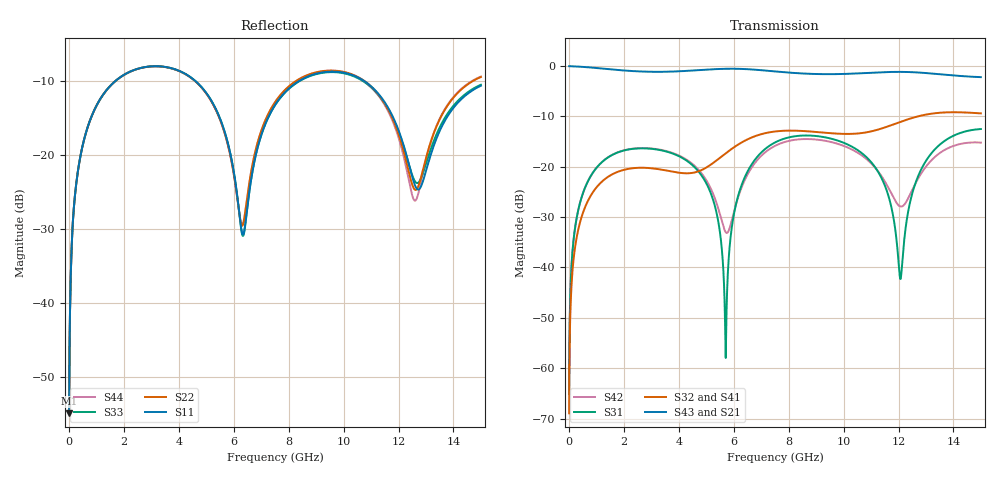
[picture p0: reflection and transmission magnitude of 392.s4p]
! Created with skrf 1.8.0 (http://scikit-rf.org).
# GHz S RI R 50.0
!freq ReS11 ImS11 ReS12 ImS12 ReS13 ImS13
! ReS14 ImS14
! ReS21 ImS21 ReS22 ImS22 ReS23 ImS23
! ReS24 ImS24
! ReS31 ImS31 ReS32 ImS32 ReS33 ImS33
! ReS34 ImS34
! ReS41 ImS41 ReS42 ImS42 ReS43 ImS43
! ReS44 ImS44
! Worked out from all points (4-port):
!   2499 points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, 5 MHz to 15 GHz, reference 50 ohm
!   strongest paths, dB at 5 MHz, 3.476 GHz, 7.19 GHz, 11.1 GHz, 15 GHz:
!     S43: 0.0, -1.1, -0.9, -1.3, -2.2
!     S21: 0.0, -1.1, -0.9, -1.3, -2.2
!     S32: -69.0, -20.7, -13.3, -12.8, -9.4
!     S41: -69.0, -20.7, -13.3, -12.9, -9.4
!     S31: -65.0, -16.9, -16.3, -19.7, -12.5
!     S42: -65.0, -16.8, -16.9, -19.9, -15.2
!   lowest |S11| = -55.0 dB at 5 MHz (marker M1), VSWR 1.00, Z = 50.1 + j0.109 ohm
!   |S11| at or under -10 dB: start of sweep to 1.711 GHz; 4.582 GHz to 8.407 GHz (3.825 GHz wide, 58.9 % of centre); 10.72 GHz to end of sweep
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0.005  0.00142 0.00108  0.9986 -0.00277  7.05e-05 0.000556  -6.86e-05 -0.000349
       0.9986 -0.00277  0.00142 0.00108  -6.86e-05 -0.000349  7.05e-05 0.000556
       7.05e-05 0.000556  -6.86e-05 -0.000349  0.00142 0.00108  0.9986 -0.00277
       -6.86e-05 -0.000349  7.05e-05 0.000556  0.9986 -0.00277  0.00142 0.00108
1.569404  0.231 0.1905  0.6305 -0.6779  0.1105 0.0703  -0.0818 -0.019
          0.6305 -0.6779  0.2307 0.1906  -0.0818 -0.019  0.1115 0.0692
          0.1105 0.0703  -0.0818 -0.019  0.2309 0.1905  0.6305 -0.6779
          -0.0818 -0.019  0.1115 0.0692  0.6305 -0.6779  0.2307 0.1906
5.708629  0.0641 -0.1186  -0.8711 -0.3545  0.0012 0.000392  -0.0475 0.1277
          -0.8711 -0.3545  0.0663 -0.1141  -0.047 0.1278  -0.0206 -0.00866
          0.0012 0.000392  -0.047 0.1278  0.0637 -0.1184  -0.8712 -0.3546
          -0.0475 0.1277  -0.0206 -0.00866  -0.8712 -0.3546  0.0665 -0.1137
6.740308  0.0506 0.072  -0.9109 0.1482  0.0575 0.0989  0.046 0.1943
          -0.9109 0.1482  0.0574 0.0772  0.0466 0.1942  0.0279 0.1027
          0.0575 0.0989  0.0466 0.1942  0.0497 0.072  -0.911 0.1479
          0.046 0.1943  0.0279 0.1027  -0.911 0.1479  0.0581 0.0771
10.06044  0.3484 -0.0706  0.1023 0.8293  0.1347 -0.1049  0.1921 -0.0872
          0.1023 0.8293  0.3506 -0.0807  0.1925 -0.0891  0.1313 -0.0897
          0.1347 -0.1049  0.1925 -0.0891  0.346 -0.066  0.1019 0.8305
          0.1921 -0.0872  0.1313 -0.0897  0.1019 0.8305  0.3474 -0.0839
12.06753  0.0877 -0.1026  0.7841 0.3901  -0.00768 0.000395  0.119 -0.2526
          0.7841 0.3901  0.082 -0.095  0.1158 -0.2541  -0.0396 -0.00764
          -0.00768 0.000395  0.1158 -0.2541  0.0915 -0.0946  0.785 0.3899
          0.119 -0.2526  -0.0396 -0.00764  0.785 0.3899  0.0731 -0.0931
15  0.2737 0.1007  0.4411 -0.6411  0.2304 -0.0565  -0.3135 -0.1308
    0.4411 -0.6411  0.321 0.0925  -0.3144 -0.1277  0.1733 0.0128
    0.2304 -0.0565  -0.3144 -0.1277  0.2792 0.0989  0.4419 -0.6392
    -0.3135 -0.1308  0.1733 0.0128  0.4419 -0.6392  0.321 0.1005
